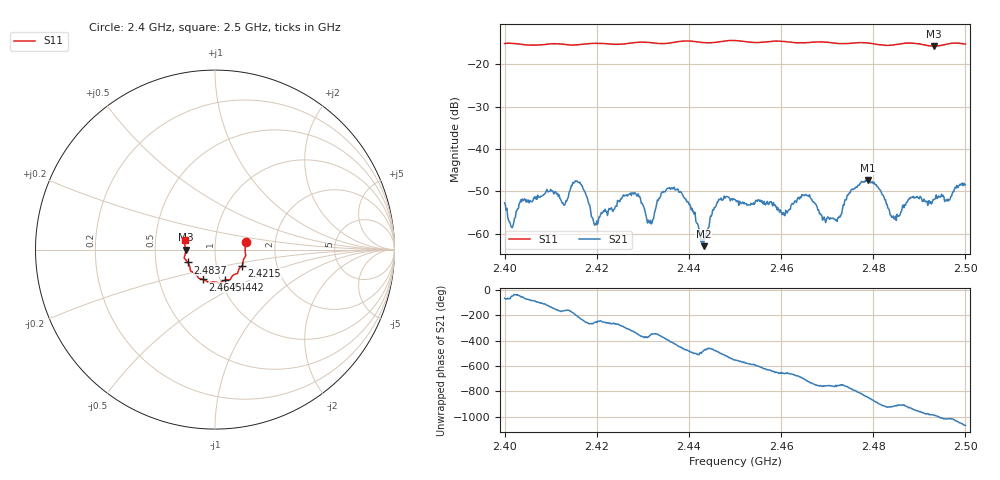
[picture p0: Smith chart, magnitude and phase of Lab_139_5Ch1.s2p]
# Hz S RI R 50
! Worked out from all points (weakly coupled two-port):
!   601 points, 2.4 GHz to 2.5 GHz, reference 50 ohm
!   highest |S21| = -47.36 dB at 2.4788 GHz (marker M1); lowest = -62.9 dB at 2.4432 GHz (marker M2)
!   lowest |S11| = -15.7 dB at 2.4932 GHz (marker M3), VSWR 1.39, Z = 35.9 - j0.0529 ohm
!   |S11| at or under -10 dB: start of sweep to end of sweep
!   S12 and S22 are empty: the file has one direction only
!   S11 on the Smith chart (normalised r, x): 2.4 GHz: 1.41, +0.12; 2.4215 GHz: 1.33, -0.25; 2.4442 GHz: 1.05, -0.37; 2.4645 GHz: 0.83, -0.29; 2.4837 GHz: 0.73, -0.11; 2.5 GHz: 0.71, +0.08
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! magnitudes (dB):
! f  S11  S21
! 2.4 GHz  -15.1  -52.7
! 2.4015 GHz  -15.0  -58.4
! 2.4038 GHz  -15.3  -51.8
! 2.4167 GHz  -15.3  -48.5
! 2.4193 GHz  -15.1  -57.3
! 2.4215 GHz  -15.1  -54.6
! 2.4282 GHz  -14.9  -50.3
! 2.4315 GHz  -14.9  -57.5
! 2.4333 GHz  -15.1  -52.2
! 2.438 GHz  -14.6  -50.2
! 2.4432 GHz  -14.9  -62.9
! 2.4442 GHz  -15.0  -58.7
! 2.45 GHz  -14.4  -51.9
! 2.4607 GHz  -14.6  -55.6
! 2.4645 GHz  -15.0  -50.8
! 2.4667 GHz  -14.8  -51.9
! 2.472 GHz  -15.1  -56.7
! 2.4788 GHz  -15.0  -47.4
! 2.4833 GHz  -15.5  -54.0
! 2.4837 GHz  -15.5  -55.5
! 2.4932 GHz  -15.7  -51.9
! 2.5 GHz  -15.3  -48.5
